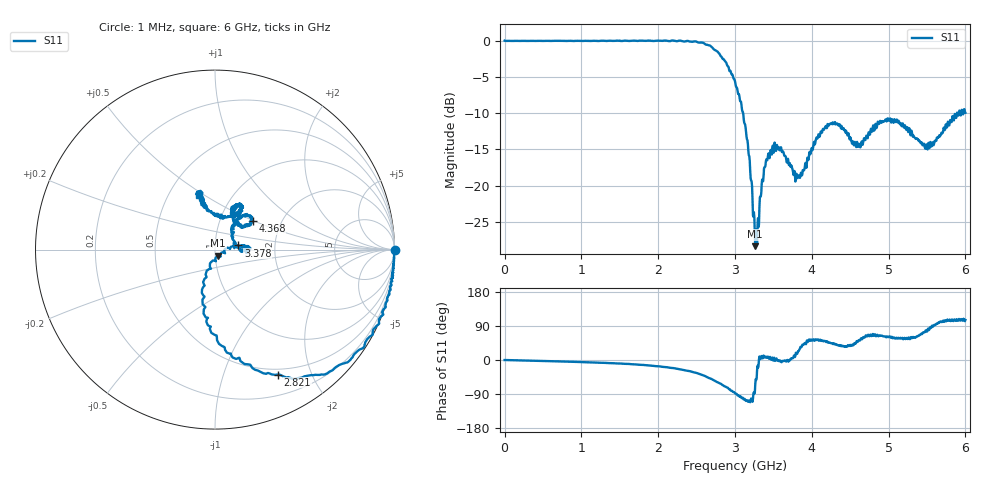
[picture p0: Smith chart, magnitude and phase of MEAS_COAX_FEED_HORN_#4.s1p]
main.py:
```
import re
import matplotlib.pyplot as plt
import skrf as rf

MEAS_1 = r'MEAS_COAX_FEED_HORN_#1.s1p'
MEAS_2 = r'MEAS_COAX_FEED_HORN_#2.s1p'
MEAS_3 = r'MEAS_COAX_FEED_HORN_#3.s1p'
MEAS_4 = r'MEAS_COAX_FEED_HORN_#4.s1p'
SIM = r'SIM_COAX_FEED_HORN.s1p'

for file in [MEAS_1, MEAS_2,MEAS_3,MEAS_4,SIM]:
    with open(file, encoding='cp1252') as f:
        for line in f:
            print(line.rstrip())
            if re.search('#', line):
                break
            else:
                pass
    print('\n')

sedat_1 = rf.Network(MEAS_1)
sedat_2 = rf.Network(MEAS_2)
sedat_3 = rf.Network(MEAS_3)
sedat_4 = rf.Network(MEAS_4)
sedat_6 = rf.Network(SIM)


sedat_1.plot_s_db(m=0,n=0) #S11
sedat_2.plot_s_db(m=0,n=0) #S11
sedat_3.plot_s_db(m=0,n=0) #S11
sedat_4.plot_s_db(m=0,n=0) #S11
sedat_6.plot_s_db(m=0,n=0,linestyle = '--',linewidth = 3) #S11

plt.minorticks_on()
plt.grid(visible=True, which='major', color='black', linestyle='-')
plt.grid(visible=True, which='minor', color='grey', linestyle='--')
plt.show()


sedat_1.plot_s_smith(m=0,n=0) #S11
sedat_2.plot_s_smith(m=0,n=0) #S11
sedat_3.plot_s_smith(m=0,n=0) #S11
sedat_4.plot_s_smith(m=0,n=0) #S11
sedat_6.plot_s_smith(m=0,n=0,linestyle = '--',linewidth = 3) #S11

plt.minorticks_on()
plt.grid(visible=True, which='major', color='black', linestyle='-')
plt.grid(visible=True, which='minor', color='grey', linestyle='--')
plt.show()
```
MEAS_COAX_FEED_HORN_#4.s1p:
# GHZ S DB R 50.000000000000
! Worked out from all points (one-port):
!   1001 points, 1 MHz to 6 GHz, reference 50 ohm
!   lowest |S11| = -28.3 dB at 3.264 GHz (marker M1), VSWR 1.08, Z = 51.6 - j3.55 ohm
!   |S11| at or under -10 dB: 3.106 GHz to 5.891 GHz (2.785 GHz wide, 61.9 % of centre); 5.898962 GHz to 5.915999 GHz (17.04 MHz wide, 0.288 % of centre); 5.932625 GHz to 5.944584 GHz (11.96 MHz wide, 0.201 % of centre)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
!   S11 on the Smith chart (normalised r, x): 1 MHz: open; 2.821 GHz: 0.43, -1.53; 3.378 GHz: 1.30, +0.06; 4.368 GHz: 1.43, +0.49; 6 GHz: 0.70, +0.48
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0.001  0.02 -0.1
2.004666  0.02 -16.5
2.496584  -0.11 -34.0
2.82053  -2.17 -63.3
3.084486  -8.81 -100.1
3.264456  -28.34 -64.0
3.378437  -17.60 10.2
3.54041  -14.71 4.2
3.816364  -18.96 20.3
4.002333  -14.79 51.0
4.368272  -11.60 37.0
5.106149  -10.86 57.8
5.502083  -14.88 75.3
6  -9.93 105.9
